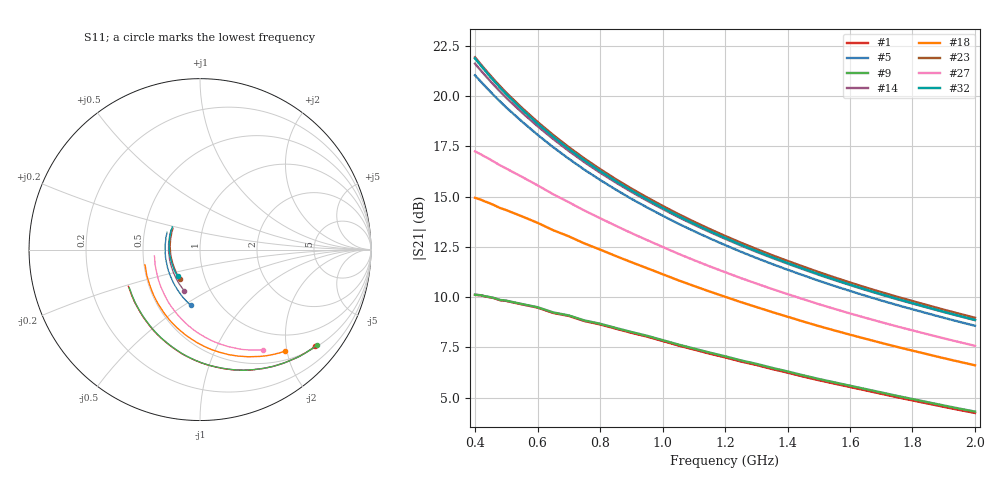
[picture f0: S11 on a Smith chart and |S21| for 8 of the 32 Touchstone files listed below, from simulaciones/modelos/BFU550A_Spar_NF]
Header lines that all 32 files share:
! Noise Parameter Data File
! Device data file deembeded for feedlines and parallel
! Feed-files: PR017V01_150413_Feed1.s2p, PR017V01_150413_Feed2.s2p
! Parallel-file: PR017V01_150413_Par.s2p
# MHz S MA R 50
!  Freq-MHz  S11-mag  S11-arg  S21-mag  S21-arg  S12-mag  S12-arg  S22-mag  S22-arg
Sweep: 400 MHz to 2 GHz
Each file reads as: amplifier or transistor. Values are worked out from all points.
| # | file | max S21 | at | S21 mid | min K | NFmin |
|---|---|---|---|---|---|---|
| 1 | BFU550A_03V3_001mA_NF_SP.s2p | 10.1 dB | 400 MHz | 7.4 dB at 1.1 GHz | 0.19 | 0.47 dB |
| 2 | BFU550A_03V3_002mA_NF_SP.s2p | 14.9 dB | 400 MHz | 10.4 dB at 1.1 GHz | 0.28 | 0.51 dB |
| 3 | BFU550A_03V3_003mA_NF_SP.s2p | 17.2 dB | 400 MHz | 11.6 dB at 1.1 GHz | 0.36 | 0.53 dB |
| 4 | BFU550A_03V3_005mA_NF_SP.s2p | 19.4 dB | 400 MHz | 12.6 dB at 1.1 GHz | 0.51 | 0.60 dB |
| 5 | BFU550A_03V3_010mA_NF_SP.s2p | 21.0 dB | 400 MHz | 13.3 dB at 1.1 GHz | 0.73 | 0.77 dB |
| 6 | BFU550A_03V3_015mA_NF_SP.s2p | 21.4 dB | 400 MHz | 13.3 dB at 1.1 GHz | 0.83 | 0.90 dB |
| 7 | BFU550A_03V3_025mA_NF_SP.s2p | 20.7 dB | 400 MHz | 12.5 dB at 1.1 GHz | 0.93 | 1.12 dB |
| 8 | BFU550A_03V3_035mA_NF_SP.s2p | 18.8 dB | 400 MHz | 10.4 dB at 1.1 GHz | 0.96 | 1.39 dB |
| 9 | BFU550A_05V0_001mA_NF_SP.s2p | 10.1 dB | 400 MHz | 7.4 dB at 1.1 GHz | 0.18 | 0.48 dB |
| 10 | BFU550A_05V0_002mA_NF_SP.s2p | 14.9 dB | 400 MHz | 10.5 dB at 1.1 GHz | 0.27 | 0.48 dB |
| 11 | BFU550A_05V0_003mA_NF_SP.s2p | 17.3 dB | 400 MHz | 11.7 dB at 1.1 GHz | 0.36 | 0.53 dB |
| 12 | BFU550A_05V0_005mA_NF_SP.s2p | 19.5 dB | 400 MHz | 12.7 dB at 1.1 GHz | 0.51 | 0.60 dB |
| 13 | BFU550A_05V0_010mA_NF_SP.s2p | 21.2 dB | 400 MHz | 13.5 dB at 1.1 GHz | 0.73 | 0.74 dB |
| 14 | BFU550A_05V0_015mA_NF_SP.s2p | 21.6 dB | 400 MHz | 13.6 dB at 1.1 GHz | 0.83 | 0.90 dB |
| 15 | BFU550A_05V0_025mA_NF_SP.s2p | 21.5 dB | 400 MHz | 13.3 dB at 1.1 GHz | 0.91 | 1.12 dB |
| 16 | BFU550A_05V0_035mA_NF_SP.s2p | 20.4 dB | 400 MHz | 12.1 dB at 1.1 GHz | 0.96 | 1.37 dB |
| 17 | BFU550A_08V0_001mA_NF_SP.s2p | 10.1 dB | 400 MHz | 7.5 dB at 1.1 GHz | 0.18 | 0.52 dB |
| 18 | BFU550A_08V0_002mA_NF_SP.s2p | 14.9 dB | 400 MHz | 10.6 dB at 1.1 GHz | 0.27 | 0.51 dB |
| 19 | BFU550A_08V0_003mA_NF_SP.s2p | 17.3 dB | 400 MHz | 11.8 dB at 1.1 GHz | 0.36 | 0.53 dB |
| 20 | BFU550A_08V0_005mA_NF_SP.s2p | 19.5 dB | 400 MHz | 12.8 dB at 1.1 GHz | 0.51 | 0.60 dB |
| 21 | BFU550A_08V0_010mA_NF_SP.s2p | 21.3 dB | 400 MHz | 13.6 dB at 1.1 GHz | 0.72 | 0.75 dB |
| 22 | BFU550A_08V0_015mA_NF_SP.s2p | 21.8 dB | 400 MHz | 13.8 dB at 1.1 GHz | 0.81 | 0.90 dB |
| 23 | BFU550A_08V0_025mA_NF_SP.s2p | 21.9 dB | 400 MHz | 13.8 dB at 1.1 GHz | 0.90 | 1.17 dB |
| 24 | BFU550A_08V0_035mA_NF_SP.s2p | 21.5 dB | 400 MHz | 13.2 dB at 1.1 GHz | 0.93 | 1.40 dB |
| 25 | BFU550A_12V0_001mA_NF_SP.s2p | 10.0 dB | 400 MHz | 7.5 dB at 1.1 GHz | 0.18 | 0.54 dB |
| 26 | BFU550A_12V0_002mA_NF_SP.s2p | 14.9 dB | 400 MHz | 10.6 dB at 1.1 GHz | 0.27 | 0.52 dB |
| 27 | BFU550A_12V0_003mA_NF_SP.s2p | 17.3 dB | 400 MHz | 11.8 dB at 1.1 GHz | 0.36 | 0.56 dB |
| 28 | BFU550A_12V0_005mA_NF_SP.s2p | 19.5 dB | 400 MHz | 12.9 dB at 1.1 GHz | 0.50 | 0.63 dB |
| 29 | BFU550A_12V0_010mA_NF_SP.s2p | 21.3 dB | 400 MHz | 13.7 dB at 1.1 GHz | 0.71 | 0.79 dB |
| 30 | BFU550A_12V0_015mA_NF_SP.s2p | 21.8 dB | 400 MHz | 13.9 dB at 1.1 GHz | 0.80 | 0.94 dB |
| 31 | BFU550A_12V0_025mA_NF_SP.s2p | 22.1 dB | 400 MHz | 13.9 dB at 1.1 GHz | 0.88 | 1.21 dB |
| 32 | BFU550A_12V0_035mA_NF_SP.s2p | 21.9 dB | 400 MHz | 13.7 dB at 1.1 GHz | 0.91 | 1.47 dB |
